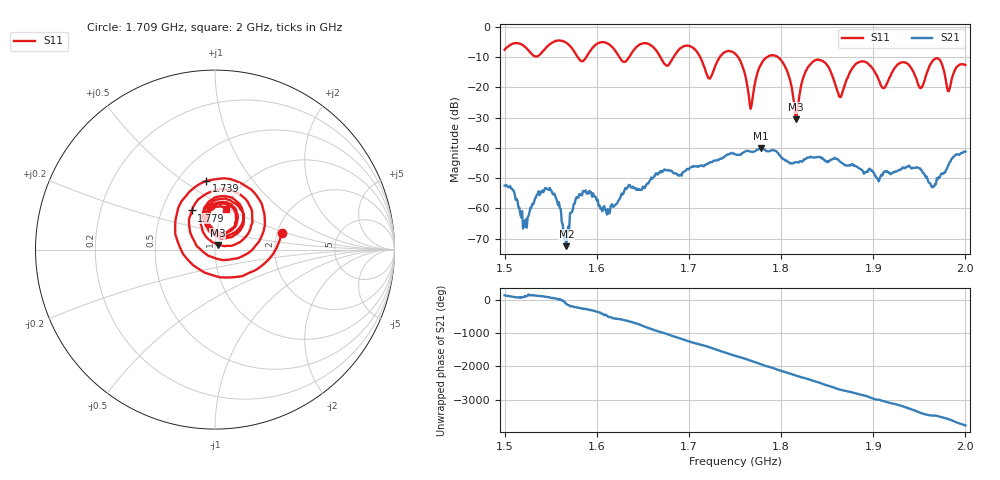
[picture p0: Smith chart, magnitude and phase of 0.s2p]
! NanoVNA-App by SYSJOINT et al v1.1.209 (+OD18)
! Date: 2026-01-21 14:18:48
! Start: 1,5GHz Stop: 2GHz Points: 501
! S-Parameter data: F S11 S21 S12 S22
# Hz S RI R 50
!  Frequency  S11_Real  S11_Imag  S21_Real  S21_Imag  S12_Real  S12_Imag  S22_Real  S22_Imag
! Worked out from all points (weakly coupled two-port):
!   501 points, 1.5 GHz to 2 GHz, reference 50 ohm
!   highest |S21| = -40.20 dB at 1.778 GHz (marker M1); lowest = -72.5 dB at 1.567 GHz (marker M2)
!   lowest |S11| = -30.5 dB at 1.816 GHz (marker M3), VSWR 1.06, Z = 51.6 + j2.59 ohm
!   |S11| at or under -10 dB: 1.712 GHz to 1.733 GHz (21.04 MHz wide, 1.22 % of centre); 1.753 GHz to 1.785 GHz (31.13 MHz wide, 1.76 % of centre); 1.797 GHz to end of sweep (the widest 3 of 6)
!   S12 and S22 are empty: the file has one direction only
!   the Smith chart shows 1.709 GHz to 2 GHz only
!   S11 on the Smith chart (normalised r, x): 1.709 GHz: 2.11, +0.46; 1.739 GHz: 0.68, +0.61; 1.779 GHz: 0.71, +0.33; 2 GHz: 1.02, +0.49
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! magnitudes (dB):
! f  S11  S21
! 1.5 GHz  -7.5  -52.5
! 1.522 GHz  -6.5  -66.0
! 1.549 GHz  -5.7  -53.2
! 1.567 GHz  -5.2  -72.5
! 1.584 GHz  -11.3  -55.7
! 1.612 GHz  -5.5  -60.2
! 1.667 GHz  -8.9  -48.3
! 1.709 GHz  -8.3  -46.1
! 1.739 GHz  -8.3  -42.8
! 1.75 GHz  -8.7  -42.1
! 1.767 GHz  -27.0  -41.2
! 1.778 GHz  -12.5  -40.2
! 1.779 GHz  -11.9  -40.3
! 1.801 GHz  -11.4  -43.2
! 1.816 GHz  -30.5  -44.7
! 1.834 GHz  -11.7  -43.1
! 1.864 GHz  -23.2  -44.6
! 1.886 GHz  -11.5  -47.0
! 1.917 GHz  -17.2  -48.1
! 1.965 GHz  -11.0  -52.8
! 1.982 GHz  -21.2  -45.5
! 2 GHz  -12.6  -41.2
